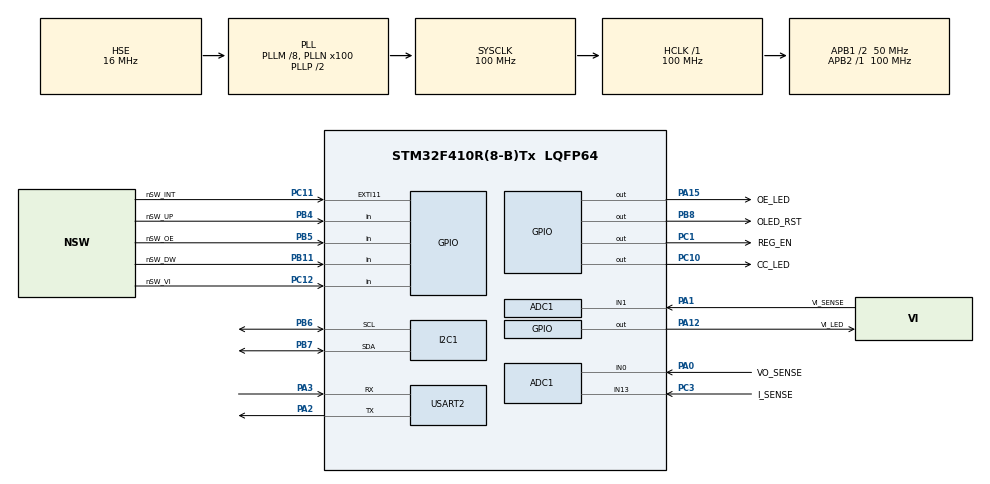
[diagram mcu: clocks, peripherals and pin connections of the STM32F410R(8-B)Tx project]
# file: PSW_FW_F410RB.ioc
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Mcu.Family=STM32F4
RCC.CortexFreq_Value=100000000
PC12.Signal=GPIO_Input
PC10.Signal=GPIO_Output
PB11.Signal=GPIO_Input
RCC.SYSCLKSource=RCC_SYSCLKSOURCE_PLLCLK
ProjectManager.StackSize=0x400
PA15.GPIO_Label=OE_LED
PA12.Signal=GPIO_Output
PH0\ -\ OSC_IN.Signal=RCC_OSC_IN
RCC.HCLKFreq_Value=100000000
RCC.APB2TimFreq_Value=100000000
PB6.Signal=I2C1_SCL
PB6.Mode=I2C
PC3.Signal=SharedAnalog_PC3
PC1.PinState=GPIO_PIN_SET
RCC.AHBFreq_Value=100000000
NVIC.EXTI15_10_IRQn=true\:0\:0\:false\:false\:true\:true\:true
ADC1.Channel-0\#ChannelRegularConversion=ADC_CHANNEL_13
RCC.HSE_VALUE=16000000
PB3.Mode=Trace_Asynchronous_SW
PA14.Mode=Trace_Asynchronous_SW
PC11.GPIO_Label=nSW_INT
PB8.PinState=GPIO_PIN_RESET
PB7.Signal=I2C1_SDA
ADC1.SamplingTime-0\#ChannelRegularConversion=ADC_SAMPLETIME_3CYCLES
Mcu.Package=LQFP64
USART2.VirtualMode=VM_ASYNC
RCC.EnbaleCSS=true
PA15.Signal=GPIO_Output
PB5.GPIO_Label=nSW_OE
RCC.APB1TimFreq_Value=100000000
PB4.Signal=GPIO_Input
PA3.Signal=USART2_RX
RCC.PLLSourceVirtual=RCC_PLLSOURCE_HSE
ADC1.Rank-0\#ChannelRegularConversion=1
PC10.GPIO_Label=CC_LED
SH.SharedAnalog_PC3.1=ADC1_IN13,IN13
SH.SharedAnalog_PC3.0=GPIO_Analog
SH.SharedAnalog_PA0.0=GPIO_Analog
SH.SharedAnalog_PA0.1=ADC1_IN0,IN0
PC11.Signal=GPXTI11
PH1\ -\ OSC_OUT.Mode=HSE-External-Oscillator
PB11.GPIO_Label=nSW_DW
TIM11.Prescaler=8400-1
RCC.APB1CLKDivider=RCC_HCLK_DIV2
PA12.GPIO_Label=VI_LED
PA0-WKUP.GPIO_Label=VO_SENSE
PA0-WKUP.Signal=SharedAnalog_PA0
VP_TIM11_VS_ClockSourceINT.Mode=Enable_Timer
PA13.Signal=SYS_JTMS-SWDIO
PA3.Mode=Asynchronous
PB8.GPIO_Label=OLED_RST
PH0\ -\ OSC_IN.Mode=HSE-External-Oscillator
ProjectManager.TargetToolchain=STM32CubeIDE
I2C1.I2C_Mode=I2C_Fast
RCC.LSE_VALUE=32768
PA1.Signal=SharedAnalog_PA1
PH1\ -\ OSC_OUT.Signal=RCC_OSC_OUT
board=custom
RCC.VCOOutputFreq_Value=200000000
RCC.APB2Freq_Value=100000000
PB4.GPIO_Label=nSW_UP
PC11.GPIO_ModeDefaultEXTI=GPIO_MODE_IT_FALLING
PA1.GPIO_Label=VI_SENSE
PC1.GPIO_Label=REG_EN
PA13.Mode=Trace_Asynchronous_SW
Mcu.Name=STM32F410R(8-B)Tx
PA2.Signal=USART2_TX
RCC.48MHZClocksFreq_Value=50000000
PB3.Signal=SYS_JTDO-SWO
RCC.SYSCLKFreq_VALUE=100000000
PB5.Signal=GPIO_Input
ADC1.master=1
PC12.GPIO_Label=nSW_VI
PB7.Mode=I2C
PA14.Signal=SYS_JTCK-SWCLK
ProjectManager.HeapSize=0x200
RCC.HSI_VALUE=16000000
SH.SharedAnalog_PA1.1=ADC1_IN1,IN1
NVIC.PriorityGroup=NVIC_PRIORITYGROUP_4
SH.SharedAnalog_PA1.0=GPIO_Analog
ADC1.NbrOfConversionFlag=1
RCC.PLLM=8
RCC.PLLN=100
PA2.Mode=Asynchronous
PB8.Signal=GPIO_Output
PC3.GPIO_Label=I_SENSE
RCC.APB1Freq_Value=50000000
PC1.Signal=GPIO_Output

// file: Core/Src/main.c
/* USER CODE BEGIN Header */
/**
 ******************************************************************************
 * @file           : main.c
 * @brief          : Main program body
 ******************************************************************************
 * @attention
 *
 * <h2><center>&copy; Copyright (c) 2020 STMicroelectronics.
 * All rights reserved.</center></h2>
 *
 * This software component is licensed by ST under BSD 3-Clause license,
 * the "License"; You may not use this file except in compliance with the
 * License. You may obtain a copy of the License at:
 *                        opensource.org/licenses/BSD-3-Clause
 *
 ******************************************************************************
 */
/* USER CODE END Header */
#include "main.h"

/* USER CODE BEGIN Includes */
#include <stdio.h>
#include <string.h>
#include <stdlib.h>

#include "debug.h"

#include "analog.h"

#include "buttons.h"

#include "gfx.h"
#include "ssd1306.h"

#include "leds.h"

#include "mcp4018.h"

/* USER CODE END Includes */

/* USER CODE BEGIN PD */
#define INFO_TEXT_SIZE Font_7x10
#define ERROR_TEXT_SIZE Font_11x18
#define REFRESH_INTERVAL 2500	// 2500 / (84Ε6 / 8400) = 0.25s
/* USER CODE END PD */

ADC_HandleTypeDef hadc1;

I2C_HandleTypeDef hi2c1;

TIM_HandleTypeDef htim11;

UART_HandleTypeDef huart2;

/* USER CODE BEGIN PV */
struct Stats psuStats;
uint8_t swIntFlag = RESET;
uint32_t timerVal = 0;
uint8_t timerFlag = RESET;
double gVin = 0;
/* USER CODE END PV */

void SystemClock_Config(void);
static void MX_GPIO_Init(void);
static void MX_ADC1_Init(void);
static void MX_I2C1_Init(void);
static void MX_TIM11_Init(void);
static void MX_USART2_UART_Init(void);

int main(void)
{
  /* USER CODE BEGIN 1 */
#warning CHECK WHAT CRYSTAL IS BEING USED - 16MHz or 8MHz
  /* USER CODE END 1 */

  /* MCU Configuration--------------------------------------------------------*/

  /* Reset of all peripherals, Initializes the Flash interface and the Systick. */
  HAL_Init();

  /* Configure the system clock */
  SystemClock_Config();

  /* Initialize all configured peripherals */
  MX_GPIO_Init();
  MX_ADC1_Init();
  MX_I2C1_Init();
  MX_TIM11_Init();
  MX_USART2_UART_Init();
  /* USER CODE BEGIN 2 */

	//check for i2c devices
	uint8_t i2cScanRet = i2cScan();
	if (!i2cScanRet)
	{
		errorLEDs(i2cScanRet);
	}
	printMsg("no I2C errors\n\n");

	//initialize entire system
	initPSU();
  /* USER CODE END 2 */

  /* Infinite loop */
  /* USER CODE BEGIN WHILE */
	while (1)
	{

		//get all info from ADCs
		double Vin = readVin();
		gVin = Vin;

		double Vout = readVout();

		double Iout = readIOut();

		//update display only when enough time has passed or a setting has been changed
		uint32_t timeFlag = __HAL_TIM_GET_COUNTER(&htim11) - timerVal;
		if ((timeFlag >= REFRESH_INTERVAL) || swIntFlag == SET)
		{
			displayVoltageCurrent(Vin, Vout, Iout);
			if (timeFlag >= REFRESH_INTERVAL)
				timerVal = __HAL_TIM_GET_COUNTER(&htim11);
		}

		//only handle buttons if interrupt was flagged
		if (swIntFlag == SET)
		{
			buttonsHandler(whichBtn());
			swIntFlag = RESET;
		}

		//check for current surpassing set limit
		if (Iout > psuStats.iSet)
		{
			psuStats.iLim = I_LIM_SET;
		}
		else
		{
			psuStats.iLim = I_LIM_NSET;
		}

		//set LEDs according to setup/errors
		setLeds(psuStats);
    /* USER CODE END WHILE */

	}
}

void SystemClock_Config(void)
{
  RCC_OscInitTypeDef RCC_OscInitStruct = {0};
  RCC_ClkInitTypeDef RCC_ClkInitStruct = {0};

  /** Configure the main internal regulator output voltage
  */
  __HAL_RCC_PWR_CLK_ENABLE();
  __HAL_PWR_VOLTAGESCALING_CONFIG(PWR_REGULATOR_VOLTAGE_SCALE1);
  /** Initializes the RCC Oscillators according to the specified parameters
  * in the RCC_OscInitTypeDef structure.
  */
  RCC_OscInitStruct.OscillatorType = RCC_OSCILLATORTYPE_HSE;
  RCC_OscInitStruct.HSEState = RCC_HSE_ON;
  RCC_OscInitStruct.PLL.PLLState = RCC_PLL_ON;
  RCC_OscInitStruct.PLL.PLLSource = RCC_PLLSOURCE_HSE;
  RCC_OscInitStruct.PLL.PLLM = 8;
  RCC_OscInitStruct.PLL.PLLN = 100;
  RCC_OscInitStruct.PLL.PLLP = RCC_PLLP_DIV2;
  RCC_OscInitStruct.PLL.PLLQ = 4;
  RCC_OscInitStruct.PLL.PLLR = 2;
  if (HAL_RCC_OscConfig(&RCC_OscInitStruct) != HAL_OK)
  {
    Error_Handler();
  }
  /** Initializes the CPU, AHB and APB buses clocks
  */
  RCC_ClkInitStruct.ClockType = RCC_CLOCKTYPE_HCLK|RCC_CLOCKTYPE_SYSCLK
                              |RCC_CLOCKTYPE_PCLK1|RCC_CLOCKTYPE_PCLK2;
  RCC_ClkInitStruct.SYSCLKSource = RCC_SYSCLKSOURCE_PLLCLK;
  RCC_ClkInitStruct.AHBCLKDivider = RCC_SYSCLK_DIV1;
  RCC_ClkInitStruct.APB1CLKDivider = RCC_HCLK_DIV2;
  RCC_ClkInitStruct.APB2CLKDivider = RCC_HCLK_DIV1;

  if (HAL_RCC_ClockConfig(&RCC_ClkInitStruct, FLASH_LATENCY_3) != HAL_OK)
  {
    Error_Handler();
  }
  /** Enables the Clock Security System
  */
  HAL_RCC_EnableCSS();
}

static void MX_ADC1_Init(void)
{

  ADC_ChannelConfTypeDef sConfig = {0};

  /** Configure the global features of the ADC (Clock, Resolution, Data Alignment and number of conversion)
  */
  hadc1.Instance = ADC1;
  hadc1.Init.ClockPrescaler = ADC_CLOCK_SYNC_PCLK_DIV4;
  hadc1.Init.Resolution = ADC_RESOLUTION_12B;
  hadc1.Init.ScanConvMode = DISABLE;
  hadc1.Init.ContinuousConvMode = DISABLE;
  hadc1.Init.DiscontinuousConvMode = DISABLE;
  hadc1.Init.ExternalTrigConvEdge = ADC_EXTERNALTRIGCONVEDGE_NONE;
  hadc1.Init.ExternalTrigConv = ADC_SOFTWARE_START;
  hadc1.Init.DataAlign = ADC_DATAALIGN_RIGHT;
  hadc1.Init.NbrOfConversion = 1;
  hadc1.Init.DMAContinuousRequests = DISABLE;
  hadc1.Init.EOCSelection = ADC_EOC_SINGLE_CONV;
  if (HAL_ADC_Init(&hadc1) != HAL_OK)
  {
    Error_Handler();
  }
  /** Configure for the selected ADC regular channel its corresponding rank in the sequencer and its sample time.
  */
  sConfig.Channel = ADC_CHANNEL_13;
  sConfig.Rank = 1;
  sConfig.SamplingTime = ADC_SAMPLETIME_3CYCLES;
  if (HAL_ADC_ConfigChannel(&hadc1, &sConfig) != HAL_OK)
  {
    Error_Handler();
  }

}

static void MX_I2C1_Init(void)
{

  hi2c1.Instance = I2C1;
  hi2c1.Init.ClockSpeed = 400000;
  hi2c1.Init.DutyCycle = I2C_DUTYCYCLE_2;
  hi2c1.Init.OwnAddress1 = 0;
  hi2c1.Init.AddressingMode = I2C_ADDRESSINGMODE_7BIT;
  hi2c1.Init.DualAddressMode = I2C_DUALADDRESS_DISABLE;
  hi2c1.Init.OwnAddress2 = 0;
  hi2c1.Init.GeneralCallMode = I2C_GENERALCALL_DISABLE;
  hi2c1.Init.NoStretchMode = I2C_NOSTRETCH_DISABLE;
  if (HAL_I2C_Init(&hi2c1) != HAL_OK)
  {
    Error_Handler();
  }

}

static void MX_TIM11_Init(void)
{

  htim11.Instance = TIM11;
  htim11.Init.Prescaler = 8400-1;
  htim11.Init.CounterMode = TIM_COUNTERMODE_UP;
  htim11.Init.Period = 65535;
  htim11.Init.ClockDivision = TIM_CLOCKDIVISION_DIV1;
  htim11.Init.AutoReloadPreload = TIM_AUTORELOAD_PRELOAD_DISABLE;
  if (HAL_TIM_Base_Init(&htim11) != HAL_OK)
  {
    Error_Handler();
  }

}

static void MX_USART2_UART_Init(void)
{

  huart2.Instance = USART2;
  huart2.Init.BaudRate = 115200;
  huart2.Init.WordLength = UART_WORDLENGTH_8B;
  huart2.Init.StopBits = UART_STOPBITS_1;
  huart2.Init.Parity = UART_PARITY_NONE;
  huart2.Init.Mode = UART_MODE_TX_RX;
  huart2.Init.HwFlowCtl = UART_HWCONTROL_NONE;
  huart2.Init.OverSampling = UART_OVERSAMPLING_16;
  if (HAL_UART_Init(&huart2) != HAL_OK)
  {
    Error_Handler();
  }

}

static void MX_GPIO_Init(void)
{
  GPIO_InitTypeDef GPIO_InitStruct = {0};

  /* GPIO Ports Clock Enable */
  __HAL_RCC_GPIOH_CLK_ENABLE();
  __HAL_RCC_GPIOC_CLK_ENABLE();
  __HAL_RCC_GPIOA_CLK_ENABLE();
  __HAL_RCC_GPIOB_CLK_ENABLE();

  /*Configure GPIO pin Output Level */
  HAL_GPIO_WritePin(REG_EN_GPIO_Port, REG_EN_Pin, GPIO_PIN_SET);

  /*Configure GPIO pin Output Level */
  HAL_GPIO_WritePin(GPIOA, VI_LED_Pin|OE_LED_Pin, GPIO_PIN_RESET);

  /*Configure GPIO pin Output Level */
  HAL_GPIO_WritePin(CC_LED_GPIO_Port, CC_LED_Pin, GPIO_PIN_RESET);

  /*Configure GPIO pin Output Level */
  HAL_GPIO_WritePin(OLED_RST_GPIO_Port, OLED_RST_Pin, GPIO_PIN_RESET);

  /*Configure GPIO pins : REG_EN_Pin CC_LED_Pin */
  GPIO_InitStruct.Pin = REG_EN_Pin|CC_LED_Pin;
  GPIO_InitStruct.Mode = GPIO_MODE_OUTPUT_PP;
  GPIO_InitStruct.Pull = GPIO_NOPULL;
  GPIO_InitStruct.Speed = GPIO_SPEED_FREQ_LOW;
  HAL_GPIO_Init(GPIOC, &GPIO_InitStruct);

  /*Configure GPIO pins : VI_LED_Pin OE_LED_Pin */
  GPIO_InitStruct.Pin = VI_LED_Pin|OE_LED_Pin;
  GPIO_InitStruct.Mode = GPIO_MODE_OUTPUT_PP;
  GPIO_InitStruct.Pull = GPIO_NOPULL;
  GPIO_InitStruct.Speed = GPIO_SPEED_FREQ_LOW;
  HAL_GPIO_Init(GPIOA, &GPIO_InitStruct);

  /*Configure GPIO pin : nSW_INT_Pin */
  GPIO_InitStruct.Pin = nSW_INT_Pin;
  GPIO_InitStruct.Mode = GPIO_MODE_IT_FALLING;
  GPIO_InitStruct.Pull = GPIO_NOPULL;
  HAL_GPIO_Init(nSW_INT_GPIO_Port, &GPIO_InitStruct);

  /*Configure GPIO pin : nSW_VI_Pin */
  GPIO_InitStruct.Pin = nSW_VI_Pin;
  GPIO_InitStruct.Mode = GPIO_MODE_INPUT;
  GPIO_InitStruct.Pull = GPIO_NOPULL;
  HAL_GPIO_Init(nSW_VI_GPIO_Port, &GPIO_InitStruct);

  /*Configure GPIO pins : nSW_DW_Pin nSW_UP_Pin nSW_OE_Pin */
  GPIO_InitStruct.Pin = nSW_DW_Pin|nSW_UP_Pin|nSW_OE_Pin;
  GPIO_InitStruct.Mode = GPIO_MODE_INPUT;
  GPIO_InitStruct.Pull = GPIO_NOPULL;
  HAL_GPIO_Init(GPIOB, &GPIO_InitStruct);

  /*Configure GPIO pin : OLED_RST_Pin */
  GPIO_InitStruct.Pin = OLED_RST_Pin;
  GPIO_InitStruct.Mode = GPIO_MODE_OUTPUT_PP;
  GPIO_InitStruct.Pull = GPIO_NOPULL;
  GPIO_InitStruct.Speed = GPIO_SPEED_FREQ_LOW;
  HAL_GPIO_Init(OLED_RST_GPIO_Port, &GPIO_InitStruct);

  /* EXTI interrupt init*/
  HAL_NVIC_SetPriority(EXTI15_10_IRQn, 0, 0);
  HAL_NVIC_EnableIRQ(EXTI15_10_IRQn);

}

/* USER CODE BEGIN 4 */
void initPSU(void)
{
	initLeds();
	//init struct for PSU
	psuStats.vSet = V_DEFAULT;
	psuStats.iSet = I_DEFAULT;
	psuStats.iLim = I_LIM_DEFAULT;
	psuStats.VI = VI_DEFAULT;
	psuStats.OE = OE_DEFAULT;

	//show current settings on LEDs
	setLeds(psuStats);

	//init and show logo on OLED
	ssd1306_Init();
	ssd1306_Fill(SSD1306_BLACK);
	showStartup();
	HAL_StatusTypeDef adcRet = HAL_ADC_Start(&hadc1);
	if (adcRet != HAL_OK)
	{
		ssd1306_WriteErrorMsg(2, 12, "ADC start failed");
	}

	//set pot value for Vout (half)
	MCP4018_WriteVal(psuStats.vSet);

	//initialize screen update timer
	HAL_TIM_Base_Start(&htim11);
	timerVal = __HAL_TIM_GET_COUNTER(&htim11);
}

void showStartup(void)
{
	//show logo
	ssd1306_DrawBitMap(0, 0, BOOTSCREEN, 128, 32, SSD1306_WHITE);
	osDelay(2000);
}

void displayVin(double Vin)
{
	char buff[10] =
	{ };

	//Display voltage in
	ssd1306_SetCursor(INFO_X, VIN_Y);
	ssd1306_WriteString("Vin = ", INFO_TEXT_SIZE, SSD1306_WHITE);
	if (Vin > 1000)
	{
		sprintf(buff, "%4.2f", Vin / 1000);
		ssd1306_WriteString(buff, INFO_TEXT_SIZE, SSD1306_WHITE);
		ssd1306_WriteString("V", INFO_TEXT_SIZE, SSD1306_WHITE);
	}
	else
	{
		sprintf(buff, "%4.2f", Vin);
		ssd1306_WriteString(buff, INFO_TEXT_SIZE, SSD1306_WHITE);
		ssd1306_WriteString("mV", INFO_TEXT_SIZE, SSD1306_WHITE);
	}
}

void displayOnOff(void)
{
	//display whether PSU output is enabled
	ssd1306_SetCursor(ON_OFF_X, VIN_Y);
	if (psuStats.OE == OE_ENABLED)
		ssd1306_WriteString("ON   ", INFO_TEXT_SIZE, SSD1306_WHITE);
	else
		ssd1306_WriteString("OFF", INFO_TEXT_SIZE, SSD1306_WHITE);

}

void displaySetVoltage(void)
{
	char buff[10] =
	{ };
	//display set voltage
	ssd1306_SetCursor(INFO_X, VSET_Y);
	ssd1306_WriteString("Vset = ", INFO_TEXT_SIZE, SSD1306_WHITE);
	if (vSetCalc() >= 1000)
	{
		sprintf(buff, "%4.2f", (double) vSetCalc() / 1000.0);
		ssd1306_WriteString(buff, INFO_TEXT_SIZE, SSD1306_WHITE);
		if (psuStats.VI == VI_V_SEL)
			ssd1306_WriteString("V <<", INFO_TEXT_SIZE, SSD1306_WHITE);
		else
			ssd1306_WriteString("V     ", INFO_TEXT_SIZE, SSD1306_WHITE);
	}
	else
	{
		sprintf(buff, "%4.2f", (double) vSetCalc());
		ssd1306_WriteString(buff, INFO_TEXT_SIZE, SSD1306_WHITE);
		if (psuStats.VI == VI_V_SEL)
			ssd1306_WriteString("mV <<", INFO_TEXT_SIZE, SSD1306_WHITE);
		else
			ssd1306_WriteString("mV     ", INFO_TEXT_SIZE, SSD1306_WHITE);
	}
}

void displayVout(double V)
{
	char buff[10] =
	{ };
	//display output voltage
	ssd1306_SetCursor(INFO_X, VOUT_Y);
	ssd1306_WriteString("Vout = ", INFO_TEXT_SIZE, SSD1306_WHITE);
	if (V >= 1000)
	{
		sprintf(buff, "%4.2f", V / 1000.0);
		ssd1306_WriteString(buff, INFO_TEXT_SIZE, SSD1306_WHITE);
		ssd1306_WriteString("V", INFO_TEXT_SIZE, SSD1306_WHITE);
	}
	else
	{
		sprintf(buff, "%4.2f", V);
		ssd1306_WriteString(buff, INFO_TEXT_SIZE, SSD1306_WHITE);
		ssd1306_WriteString("mV", INFO_TEXT_SIZE, SSD1306_WHITE);
	}

}

void displaySetCurrent(void)
{
	char buff[10] =
	{ };
	//display set current
	ssd1306_SetCursor(INFO_X, ISET_Y);
	ssd1306_WriteString("Iset = ", INFO_TEXT_SIZE, SSD1306_WHITE);
	if (psuStats.iSet >= 1000)
	{
		sprintf(buff, "%4.2f", (double) psuStats.iSet / 1000.0);
		ssd1306_WriteString(buff, INFO_TEXT_SIZE, SSD1306_WHITE);
		if (psuStats.VI == VI_I_SEL)
			ssd1306_WriteString("A <<", INFO_TEXT_SIZE, SSD1306_WHITE);
		else
			ssd1306_WriteString("A     ", INFO_TEXT_SIZE, SSD1306_WHITE);
	}
	else
	{
		sprintf(buff, "%4.2f", (double) psuStats.iSet);
		ssd1306_WriteString(buff, INFO_TEXT_SIZE, SSD1306_WHITE);
		if (psuStats.VI == VI_I_SEL)
			ssd1306_WriteString("mA <<", INFO_TEXT_SIZE, SSD1306_WHITE);
		else
			ssd1306_WriteString("mA     ", INFO_TEXT_SIZE, SSD1306_WHITE);
	}
}

void displayIout(double I)
{
	char buff[10] =
	{ };
	//display output current
	ssd1306_SetCursor(INFO_X, IOUT_Y);
	ssd1306_WriteString("Iout = ", INFO_TEXT_SIZE, SSD1306_WHITE);
	if (I >= 1000)
	{
		sprintf(buff, "%4.2f", I / 1000.0);
		ssd1306_WriteString(buff, INFO_TEXT_SIZE, SSD1306_WHITE);
		ssd1306_WriteString("A", INFO_TEXT_SIZE, SSD1306_WHITE);
	}
	else
	{
		sprintf(buff, "%4.2f", I);
		ssd1306_WriteString(buff, INFO_TEXT_SIZE, SSD1306_WHITE);
		ssd1306_WriteString("mA", INFO_TEXT_SIZE, SSD1306_WHITE);
	}
}

void displayVoltageCurrent(double Vin, double V, double I)
{
	//clear screen
	ssd1306_Fill(SSD1306_BLACK);

	displayVin(Vin);

	displayOnOff();

	displaySetVoltage();

	displayVout(V);

	displaySetCurrent();

	displayIout(I);

	ssd1306_UpdateScreen();
}

void enableOutput(void)
{
	HAL_GPIO_WritePin(REG_EN_GPIO_Port, REG_EN_Pin, GPIO_PIN_RESET);
}

void disableOutput(void)
{
	HAL_GPIO_WritePin(REG_EN_GPIO_Port, REG_EN_Pin, GPIO_PIN_SET);
}

void buttonsHandler(uint8_t buttons)
{
	printBtns(buttons);
	if (buttons & BTN_NUM_VI)
	{
		if (psuStats.VI == VI_V_SEL)
		{
			psuStats.VI = VI_I_SEL;
		}
		else if (psuStats.VI == VI_I_SEL)
		{
			psuStats.VI = VI_V_SEL;
		}
		else
		{ //something went wrong, reinit psu
			fatalErrorScreen();
			initPSU();
		}

	}

	if (buttons & BTN_NUM_UP)
	{
		if (psuStats.VI == VI_V_SEL)
		{
			psuStats.vSet--;	//reduce R to increase V
			MCP4018_WriteVal(psuStats.vSet);
		}
		else if (psuStats.VI == VI_I_SEL)
		{
			psuStats.iSet += 50;
		}
		else
		{ //something went wrong, reinit psu
			fatalErrorScreen();
			initPSU();
		}
	}

	if (buttons & BTN_NUM_DWN)
	{
		if (psuStats.VI == VI_V_SEL)
		{
			psuStats.vSet++;	//increase R to decrease V
			MCP4018_WriteVal(psuStats.vSet);
		}
		else if (psuStats.VI == VI_I_SEL)
		{
			psuStats.iSet -= 50;
		}
		else
		{ //something went wrong, reinit psu
			fatalErrorScreen();
			initPSU();
		}
	}

	if (buttons & BTN_NUM_OE)
	{
		if (psuStats.OE == OE_ENABLED)
		{
			psuStats.OE = OE_DISABLED;
			disableOutput();
		}
		else if (psuStats.OE == OE_DISABLED)
		{
			psuStats.OE = OE_ENABLED;
			enableOutput();
		}
		else
		{ //something went wrong, reinit psu
			fatalErrorScreen();
			initPSU();
		}
	}
	displayOnOff();
	displaySetVoltage();
	displaySetCurrent();
	ssd1306_UpdateScreen();

}

uint32_t vSetCalc(void)
{
	double potCalc = (((double)psuStats.vSet / 128.0)) * 5000.0;
	double temp = 800.0 * ((4690.0 / potCalc) + 1.0);
	return (uint32_t)(temp);
}

void fatalErrorScreen(void)
{
	disableOutput();
	//clear screen
	ssd1306_Fill(SSD1306_BLACK);

	ssd1306_SetCursor(2, 0);
	ssd1306_WriteString("FATAL", ERROR_TEXT_SIZE, SSD1306_WHITE);
	ssd1306_SetCursor(2, 20);
	ssd1306_WriteString("ERROR!", ERROR_TEXT_SIZE, SSD1306_WHITE);

	//countdown 5 seconds
	ssd1306_SetCursor(2, 40);
	ssd1306_WriteString("Reinit(5)!", INFO_TEXT_SIZE, SSD1306_WHITE);
	ssd1306_UpdateScreen();
	osDelay(1000);

	ssd1306_SetCursor(2, 40);
	ssd1306_WriteString("Reinit(4)!.", INFO_TEXT_SIZE, SSD1306_WHITE);
	ssd1306_UpdateScreen();
	osDelay(1000);

	ssd1306_SetCursor(2, 40);
	ssd1306_WriteString("Reinit(3)!..", INFO_TEXT_SIZE, SSD1306_WHITE);
	ssd1306_UpdateScreen();
	osDelay(1000);

	ssd1306_SetCursor(2, 40);
	ssd1306_WriteString("Reinit(2)!...", INFO_TEXT_SIZE, SSD1306_WHITE);
	ssd1306_UpdateScreen();
	osDelay(1000);

	ssd1306_SetCursor(2, 40);
	ssd1306_WriteString("Reinit(1)!....", INFO_TEXT_SIZE, SSD1306_WHITE);
	ssd1306_UpdateScreen();
	osDelay(1000);

	ssd1306_SetCursor(2, 40);
	ssd1306_WriteString("Reinit(0)!.....", INFO_TEXT_SIZE, SSD1306_WHITE);
	ssd1306_UpdateScreen();
	osDelay(1000);

	//flash screen
	ssd1306_Fill(SSD1306_WHITE);
	ssd1306_UpdateScreen();
	osDelay(50);
	ssd1306_Fill(SSD1306_BLACK);
	ssd1306_UpdateScreen();
	osDelay(50);
	ssd1306_Fill(SSD1306_WHITE);
	ssd1306_UpdateScreen();
	osDelay(50);
	ssd1306_Fill(SSD1306_BLACK);
	ssd1306_UpdateScreen();
	osDelay(50);
	ssd1306_Fill(SSD1306_WHITE);
	ssd1306_UpdateScreen();
	osDelay(50);
}

void printSettings(void)
{
//	  struct Stats
//	  {
//	    uint8_t vSet;  //voltage set in a byte for MCP4018
//	    uint32_t iSet; //current set in mA
//	    uint8_t iLim;  //bit[0] ? limit reached : limit NOT reached
//	    uint8_t OE;    //bit[0] ? enabled : disabled
//	    uint8_t VI;    //bit[0] ? voltage : current
//	  };
	printMsg("\nSet Voltage = %dmV\n", vSetCalc());
	printMsg("Set Current = %dmA\n", psuStats.iSet);
	printMsg("Current Limit Reached: %s\n",
			(psuStats.iLim == I_LIM_NSET) ? "FALSE" : "TRUE");
	printMsg("Output: %s\n", (psuStats.OE == OE_ENABLED) ? "TRUE" : "FALSE");
	printMsg("V/I Sel: %s\n\n",
			(psuStats.VI == VI_V_SEL) ? "Voltage" : "Current");
}

void HAL_GPIO_EXTI_Callback(uint16_t GPIO_Pin)
{
	if (GPIO_Pin == nSW_INT_Pin) // If The INT Source Is EXTI Line9 (A9 Pin)
	{
		swIntFlag = SET;
	}
}

/* USER CODE END 4 */

void Error_Handler(void)
{
	__disable_irq();
	while (1)
	{
	}
}

/************************ (C) COPYRIGHT STMicroelectronics *****END OF FILE****/
